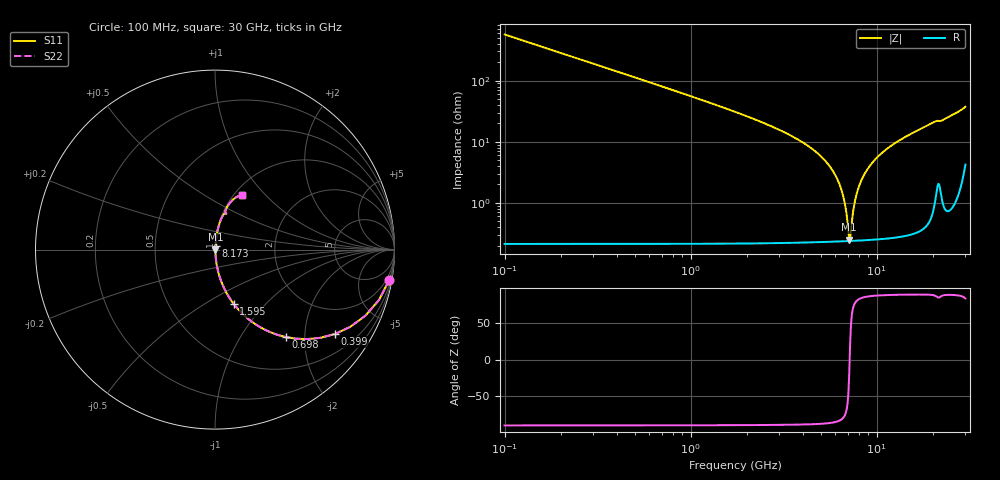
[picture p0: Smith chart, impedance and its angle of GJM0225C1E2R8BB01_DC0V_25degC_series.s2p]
!Murata Part Number: GJM0225C1E2R8BB01
!These Parameters are Measured in Series Mode Connection
!  o--ll--o
!Port1  Port2
!  o------o
!Operation Temp=25[degC], DC Bias Voltage=0[V]
!Freq. Start=100[MHz] Stop=30[GHz], 401[Steps]
!Data Generated on Feb 1, 2023
# Hz S RI R 50
!Freq.(Hz) S11(Real) S11(Imag) S21(Real) S21(Imag) S12(Real) S12(Imag) S22(Real) S22(Imag)
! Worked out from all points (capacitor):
!   401 points, 100 MHz to 30 GHz, reference 50 ohm
!   read as one part in series: C = 2.8 pF near 249.5 MHz
!   lowest |Z| = 249 mohm at 7.127 GHz (marker M1)
!   series resonance near 7.16 GHz, so ESL is about 180 pH
!   S11 on the Smith chart (normalised r, x): 100 MHz: 1, -11; 399 MHz: 1.00, -2.84; 698 MHz: 1.00, -1.61; 1.595 GHz: 1.00, -0.68; 8.173 GHz: 1.00, +0.04; 30 GHz: 1.08, +0.74
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1e8  0.9699 -0.1707  0.0301 0.1707  0.0301 0.1707  0.9699 -0.1707
3.99e8  0.6683 -0.4701  0.3317 0.4701  0.3317 0.4701  0.6683 -0.4701
6.98e8  0.3944 -0.4874  0.6056 0.4874  0.6056 0.4874  0.3944 -0.4874
1.07175e9  0.2128 -0.4073  0.7872 0.4073  0.7872 0.4073  0.2128 -0.4073
1.595e9  0.1044 -0.3027  0.8956 0.3027  0.8956 0.3027  0.1044 -0.3027
2.9405e9  0.0272 -0.156  0.9728 0.156  0.9728 0.156  0.0272 -0.156
5.10825e9  0.00524 -0.0543  0.9948 0.0543  0.9948 0.0543  0.00524 -0.0543
5.85575e9  0.00334 -0.032  0.9967 0.032  0.9967 0.032  0.00334 -0.032
6.379e9  0.00268 -0.0183  0.9973 0.0183  0.9973 0.0183  0.00268 -0.0183
6.75275e9  0.00244 -0.00927  0.9976 0.00927  0.9976 0.00927  0.00244 -0.00927
7.1265e9  0.00237 -0.00074  0.9976 0.00074  0.9976 0.00074  0.00237 -0.00074
7.276e9  0.00239 0.00255  0.9976 -0.00255  0.9976 -0.00255  0.00239 0.00255
7.50025e9  0.00244 0.00736  0.9976 -0.00736  0.9976 -0.00736  0.00244 0.00736
7.7245e9  0.00254 0.012  0.9975 -0.012  0.9975 -0.012  0.00254 0.012
8.173e9  0.00286 0.021  0.9971 -0.021  0.9971 -0.021  0.00286 0.021
8.99525e9  0.00379 0.0365  0.9962 -0.0365  0.9962 -0.0365  0.00379 0.0365
1.01165e10  0.00565 0.0558  0.9943 -0.0558  0.9943 -0.0558  0.00565 0.0558
1.213475e10  0.0104 0.0873  0.9896 -0.0873  0.9896 -0.0873  0.0104 0.0873
1.505e10  0.0197 0.1282  0.9803 -0.1282  0.9803 -0.1282  0.0197 0.1282
2.005825e10  0.0463 0.1937  0.9537 -0.1937  0.9537 -0.1937  0.0463 0.1937
2.50665e10  0.0725 0.245  0.9275 -0.245  0.9275 -0.245  0.0725 0.245
3e10  0.1483 0.3029  0.8517 -0.3029  0.8517 -0.3029  0.1483 0.3029
